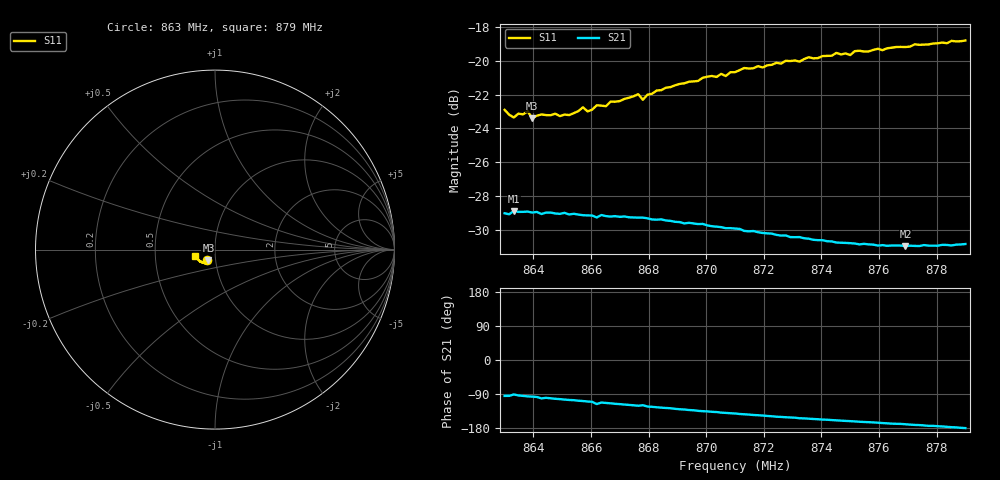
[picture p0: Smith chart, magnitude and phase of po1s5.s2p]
# HZ S RI R 50
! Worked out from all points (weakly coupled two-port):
!   101 points, 863 MHz to 879 MHz, reference 50 ohm
!   highest |S21| = -28.87 dB at 863.32 MHz (marker M1); lowest = -30.9 dB at 876.92 MHz (marker M2)
!   lowest |S11| = -23.4 dB at 863.96 MHz (marker M3), VSWR 1.15, Z = 46.2 - j5.3 ohm
!   |S11| at or under -10 dB: start of sweep to end of sweep
!   S12 and S22 are empty: the file has one direction only
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8.63e8  -0.0438 -0.0566  -0.00292 -0.0353  0 0  0 0
8.6332e8  -0.0362 -0.0575  -0.000548 -0.036  0 0  0 0
8.638e8  -0.0421 -0.057  -0.00374 -0.0357  0 0  0 0
8.6396e8  -0.0363 -0.0571  -0.00419 -0.0354  0 0  0 0
8.6428e8  -0.0349 -0.06  -0.00696 -0.0346  0 0  0 0
8.6524e8  -0.0334 -0.0605  -0.00938 -0.0339  0 0  0 0
8.6572e8  -0.0344 -0.0642  -0.011 -0.0332  0 0  0 0
8.6588e8  -0.0344 -0.0619  -0.0117 -0.0329  0 0  0 0
8.662e8  -0.0348 -0.0652  -0.0152 -0.0309  0 0  0 0
8.6652e8  -0.0331 -0.0655  -0.0138 -0.0319  0 0  0 0
8.6668e8  -0.0352 -0.067  -0.0143 -0.0316  0 0  0 0
8.6764e8  -0.0388 -0.0695  -0.0176 -0.0296  0 0  0 0
8.678e8  -0.0353 -0.068  -0.0168 -0.03  0 0  0 0
8.6796e8  -0.0382 -0.0696  -0.0185 -0.0288  0 0  0 0
8.6844e8  -0.0402 -0.0713  -0.0199 -0.0276  0 0  0 0
8.71e8  -0.0543 -0.0748  -0.0249 -0.02  0 0  0 0
8.7132e8  -0.0575 -0.0758  -0.0252 -0.0188  0 0  0 0
8.7372e8  -0.0731 -0.0705  -0.027 -0.0122  0 0  0 0
8.7452e8  -0.0806 -0.0679  -0.0272 -0.0103  0 0  0 0
8.7644e8  -0.093 -0.0572  -0.0279 -0.00593  0 0  0 0
8.7692e8  -0.0961 -0.0528  -0.0279 -0.00513  0 0  0 0
8.79e8  -0.1088 -0.0361  -0.0288 -0.000177  0 0  0 0
